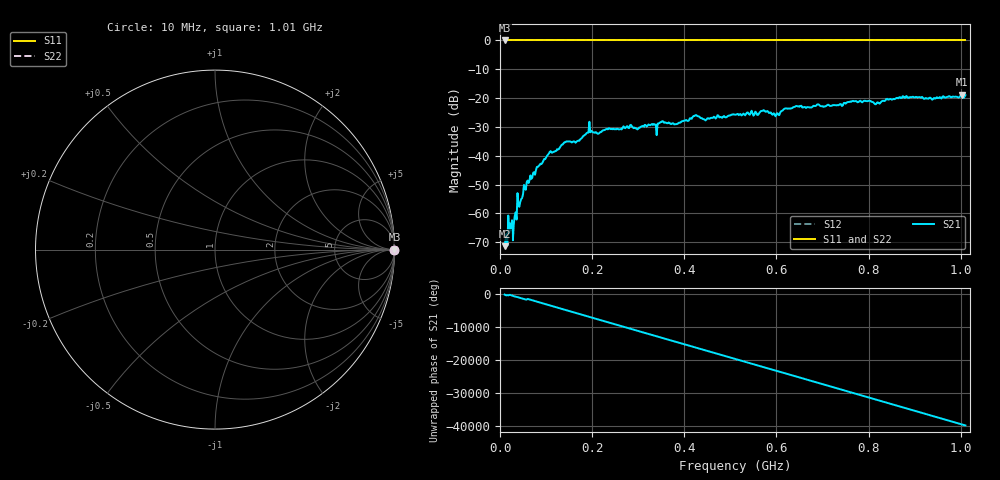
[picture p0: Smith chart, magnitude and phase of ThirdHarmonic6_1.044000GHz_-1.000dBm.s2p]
! 8/16/2025 9:07:24 AM
! C:\ANRITSUVNA\TEMP\TEMP.S2P
! CHANNEL.1
! TR.MEASUREMENT
! RAW.DATA
! RF.CORRECTION.OFF
! AVERAGING.OFF
! IF.BANDWIDTH: 5KHZ
! SWEEPTYPE:  FREQ.SWEEP(Linear)
! Reference Plane Port Info
! PORT:  PORT1  PORT2
! DISTANCE:  0  m  0  m
! TIME:  0  s  0  s
! PHASE.OFFSET:  0  deg.  0  deg.
! LOSS:  0  dB  0  dB
! REF.LOSS:  0  dB  0  dB
! REF.FREQ:  0  Hz  0  Hz
! Power Info
! POWER:  -20  dBm  -20  dBm
! EFF.POWER:  -20  dBm  -20  dBm
! SOURCE.ATTEN:  0  dB  0  dB
! TEST.ATTEN:  0  dB  0  dB
# GHZ S RI R 50.0
! FREQ.GHZ  S11RE  S11IM  S21RE  S21IM  S12RE  S12IM  S22RE  S22IM
!; PortSelection: Port_12
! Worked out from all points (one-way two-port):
!   501 points, 10 MHz to 1.01 GHz, reference 50 ohm
!   highest |S21| = -18.78 dB at 1.002 GHz (marker M1); lowest = -71.3 dB at 10 MHz (marker M2)
!   lowest |S11| = 0.0 dB at 10 MHz (marker M3)
!   |S11| at or under -10 dB: nowhere
!   |S22| runs from 0.0 to 0.0 dB; largest |S21 - S12| = 1.1
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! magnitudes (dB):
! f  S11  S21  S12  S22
! 10 MHz  0.0  -71.3  0.0  0.0
! 22 MHz  0.0  -63.4  0.0  0.0
! 24 MHz  0.0  -65.9  0.0  0.0
! 32 MHz  0.0  -60.9  0.0  0.0
! 36 MHz  0.0  -62.1  0.0  0.0
! 56 MHz  0.0  -51.8  0.0  0.0
! 84 MHz  0.0  -43.5  0.0  0.0
! 142 MHz  0.0  -35.3  0.0  0.0
! 178 MHz  0.0  -33.8  0.0  0.0
! 196 MHz  0.0  -31.8  0.0  0.0
! 214 MHz  0.0  -32.3  0.0  0.0
! 344 MHz  0.0  -28.8  0.0  0.0
! 424 MHz  0.0  -25.9  0.0  0.0
! 444 MHz  0.0  -27.4  0.0  0.0
! 510 MHz  0.0  -25.7  0.0  0.0
! 570 MHz  0.0  -24.4  0.0  0.0
! 602 MHz  0.0  -25.2  0.0  0.0
! 620 MHz  0.0  -23.5  0.0  0.0
! 678 MHz  0.0  -23.0  0.0  0.0
! 844 MHz  0.0  -20.5  0.0  0.0
! 1.002 GHz  0.0  -18.8  0.0  0.0
! 1.01 GHz  0.0  -19.0  0.0  0.0
